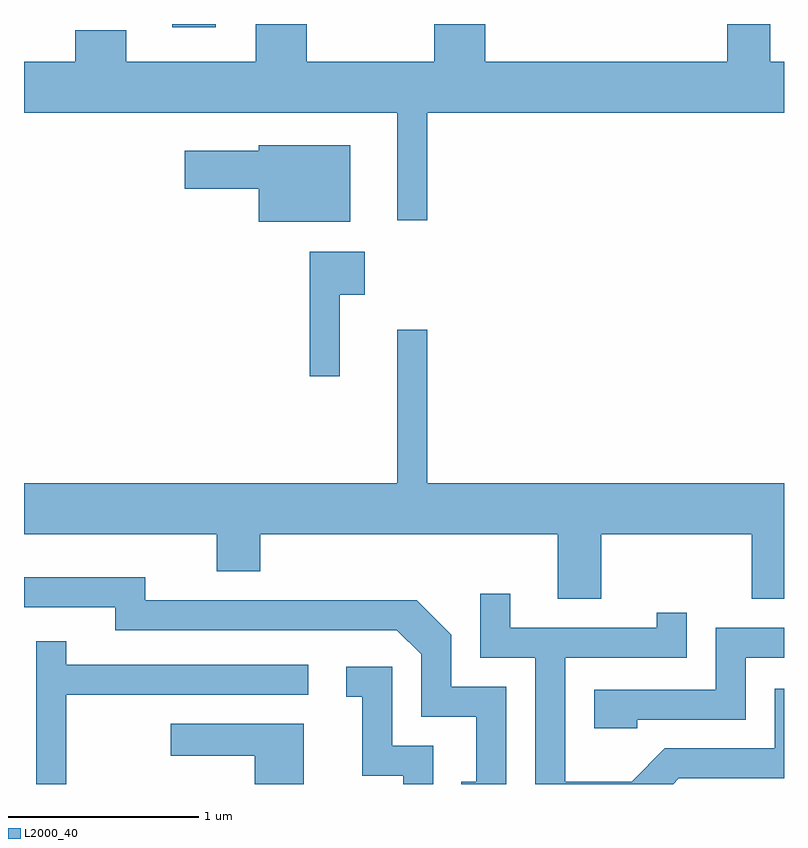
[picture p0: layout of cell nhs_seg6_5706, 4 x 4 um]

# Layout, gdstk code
import gdstk
lib = gdstk.Library(unit=1e-6, precision=1e-09)
def R(c, l, rs):  # rectangles x0, y0, x1, y1
    for r in rs: c.add(gdstk.rectangle(r[:2], r[2:], *l))
def P(c, l, *ps):  # polygons
    for p in ps: c.add(gdstk.Polygon(p, *l))
L2000_40 = (2000, 40)

nhs_seg6_5706 = lib.new_cell('nhs_seg6_5706')
R(nhs_seg6_5706, L2000_40, [(358.391,1668.146,358.619,1668.162)])
P(nhs_seg6_5706, L2000_40, [(359.734,1667.696),(361.611,1667.696),(361.611,1667.964),(361.539,1667.964),(361.539,1668.162),(361.311,1668.162),(361.311,1667.964),(360.039,1667.964),(360.039,1668.162),(359.771,1668.162),(359.771,1667.964),(359.099,1667.964),(359.099,1668.162),(358.831,1668.162),(358.831,1667.964),(358.149,1667.964),(358.149,1668.129),(357.881,1668.129),(357.881,1667.964),(357.611,1667.964),(357.611,1667.696),(359.576,1667.696),(359.576,1667.128),(359.734,1667.128)],
  [(359.329,1667.524),(358.846,1667.524),(358.846,1667.494),(358.456,1667.494),(358.456,1667.296),(358.846,1667.296),(358.846,1667.121),(359.329,1667.121)],
  [(359.274,1666.736),(359.404,1666.736),(359.404,1666.964),(359.116,1666.964),(359.116,1666.308),(359.274,1666.308)],
  [(360.649,1665.476),(361.441,1665.476),(361.441,1665.136),(361.611,1665.136),(361.611,1665.744),(359.734,1665.744),(359.734,1666.553),(359.576,1666.553),(359.576,1665.744),(357.611,1665.744),(357.611,1665.476),(358.626,1665.476),(358.626,1665.281),(358.854,1665.281),(358.854,1665.476),(360.421,1665.476),(360.421,1665.136),(360.649,1665.136)],
  [(360.149,1664.674),(359.859,1664.674),(359.859,1664.947),(359.677,1665.129),(358.249,1665.129),(358.249,1665.249),(357.611,1665.249),(357.611,1665.091),(358.091,1665.091),(358.091,1664.971),(359.574,1664.971),(359.701,1664.844),(359.701,1664.516),(359.991,1664.516),(359.991,1664.174),(359.913,1664.174),(359.913,1664.162),(360.149,1664.162)],
  [(361.057,1664.191),(361.611,1664.191),(361.611,1664.664),(361.561,1664.664),(361.561,1664.349),(360.984,1664.349),(360.809,1664.174),(360.459,1664.174),(360.459,1664.826),(361.099,1664.826),(361.099,1665.063),(360.941,1665.063),(360.941,1664.984),(360.169,1664.984),(360.169,1665.163),(360.011,1665.163),(360.011,1664.826),(360.301,1664.826),(360.301,1664.162),(361.028,1664.162)],
  [(360.839,1664.501),(361.409,1664.501),(361.409,1664.826),(361.611,1664.826),(361.611,1664.984),(361.251,1664.984),(361.251,1664.659),(360.611,1664.659),(360.611,1664.456),(360.839,1664.456)],
  [(357.834,1664.631),(359.108,1664.631),(359.108,1664.789),(357.834,1664.789),(357.834,1664.913),(357.676,1664.913),(357.676,1664.162),(357.834,1664.162)],
  [(359.764,1664.364),(359.549,1664.364),(359.549,1664.779),(359.308,1664.779),(359.308,1664.621),(359.391,1664.621),(359.391,1664.206),(359.606,1664.206),(359.606,1664.162),(359.764,1664.162)],
  [(359.084,1664.479),(358.383,1664.479),(358.383,1664.311),(358.826,1664.311),(358.826,1664.162),(359.084,1664.162)])

lib.write_gds('nhs_seg6_5706.gds')
